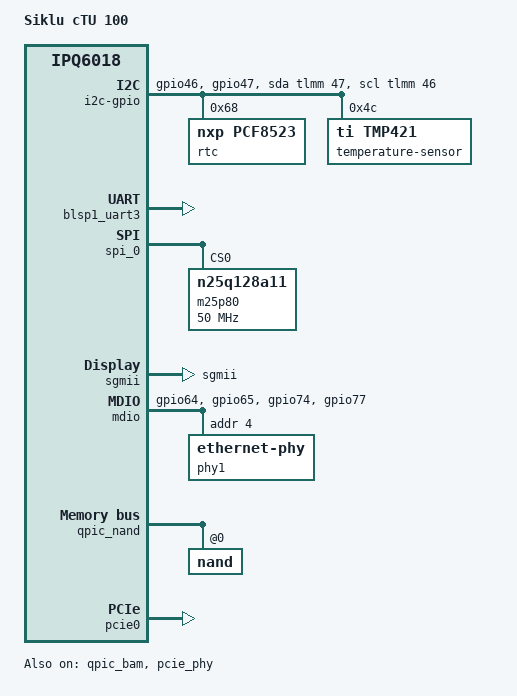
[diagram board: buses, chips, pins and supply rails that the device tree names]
// SPDX-License-Identifier: (GPL-2.0+ OR BSD-3-Clause)
/*
 * IPQ6018 CP01 board device tree source
 *
 * Copyright (c) 2019-2020 The Linux Foundation. All rights reserved.
 */

/dts-v1/;

#include <dt-bindings/gpio/gpio.h>
#include "ipq6018.dtsi"

/ {
	model = "Siklu cTU 100";
	compatible = "siklu,ipq6018-ctu", "qcom,ipq6018";

	aliases {
		serial0 = &blsp1_uart3;
		ethernet0 = &sgmii;
	};

	chosen {
		stdout-path = "serial0:115200n8";
		bootargs-append = " swiotlb=1";
	};

	/*
	* +=========+==============+========================+
	* |        |              |                         |
	* | Region | Start Offset |          Size           |
	* |        |              |                         |
	* +--------+--------------+-------------------------+
	* |        |              |                         |
	* |        |              |                         |
	* |        |              |                         |
	* |        |              |                         |
	* | Linux  |  0x41000000  |         139MB           |
	* |        |              |                         |
	* |        |              |                         |
	* |        |              |                         |
	* +--------+--------------+-------------------------+
	* | TZ App |  0x49B00000  |           6MB           |
	* +--------+--------------+-------------------------+
	*
	* From the available 145 MB for Linux in the first 256 MB,
	* we are reserving 6 MB for TZAPP.
	*
	* Refer arch/arm64/boot/dts/qcom/ipq6018-memory.dtsi
	* for memory layout.
	*/

	/* TZApp is enabled in default memory profile only. */
	/* This below reservation must be updated when LM support is added. */
	reserved-memory {
		tzapp:tzapp@49B00000 {  /* TZAPPS */
			no-map;
			reg = <0x0 0x49B00000 0x0 0x00600000>;
		};
	};

	i2c-gpio {
		compatible = "i2c-gpio";
		#address-cells = <1>;
		#size-cells = <0>;
		pinctrl-0 = <&i2c_gpio_pins>;
		pinctrl-names = "default";
		scl-gpios = <&tlmm 46 (GPIO_ACTIVE_HIGH | GPIO_OPEN_DRAIN)>;
		sda-gpios = <&tlmm 47 (GPIO_ACTIVE_HIGH | GPIO_OPEN_DRAIN)>;
		status = "okay";

		rtc@68 {
			compatible = "nxp,pcf8523";
			reg = <0x68>;
		};

		temperature-sensor@4c {
			compatible = "ti,tmp421";
			reg = <0x4c>;
		};
	};
};

&blsp1_uart3 {
	pinctrl-0 = <&serial_3_pins>;
	pinctrl-names = "default";
	status = "ok";
};

&spi_0 {
	cs-select = <0>;
	status = "ok";

	m25p80@0 {
		#address-cells = <1>;
		#size-cells = <1>;
		reg = <0>;
		compatible = "n25q128a11";
		spi-max-frequency = <50000000>;

		partitions {
			compatible = "qcom,smem-part";
		};
	};
};

&tlmm {
	i2c_gpio_pins: i2c-gpio-pins {
		pins = "gpio46", "gpio47";
		function = "gpio";
		drive-strength = <8>;
	};

	spi_0_pins: spi-0-pins {
		pins = "gpio38", "gpio39", "gpio40", "gpio41";
		function = "blsp0_spi";
		drive-strength = <8>;
		bias-pull-down;
	};

	mdio_pins: mdio_pinmux {
		mux_0 {
			pins = "gpio64";
			function = "mdc";
			drive-strength = <8>;
			bias-pull-up;
		};
		mux_1 {
			pins = "gpio65";
			function = "mdio";
			drive-strength = <8>;
			bias-pull-up;
		};
		mux_2 {
			pins = "gpio74";
			function = "gpio";
			bias-pull-up;
		};
		mux_3 {
			pins = "gpio77";
			function = "gpio";
			bias-pull-up;
		};
	};
};

&soc {
	sgmii: dp2 {
		device_type = "network";
		compatible = "qcom,nss-dp";
		qcom,id = <3>;
		reg = <0x0 0x3a001600 0x0 0x200>;
		qcom,mactype = <0>;
		local-mac-address = [000000000000];
		qcom,link-poll = <1>;
		mdio-bus = <&mdio>;
		qcom,phy-mdio-addr = <4>;
		phy-mode = "sgmii";
	};

	ess-switch@3a000000 {
		switch_cpu_bmp = <0x1>;  /* cpu port bitmap */
		switch_lan_bmp = <0x18>; /* lan port bitmap */
		switch_wan_bmp = <0x20>; /* wan port bitmap */
		switch_inner_bmp = <0xc0>; /*inner port bitmap*/
		switch_mac_mode = <0x0>; /* mac mode for uniphy instance0*/
		switch_mac_mode1 = <0xf>; /* mac mode for uniphy instance1*/
		switch_mac_mode2 = <0xff>; /* mac mode for uniphy instance2*/
		mdio-bus = <&mdio>;
		qcom,port_phyinfo {
			port@4 {
				port_id = <3>;
				phy_address = <4>;
			};
		};
	};
};

&mdio {
	pinctrl-0 = <&mdio_pins>;
	pinctrl-names = "default";
	phy-reset-gpio = <&tlmm 74 0>;
	status = "okay";
	phy1: ethernet-phy@4 {
		reg = <4>;
	};
};

&qpic_bam {
	status = "ok";
};

&qpic_nand {
	status = "ok";

	nand@0 {
		reg = <0>;
		#address-cells = <1>;
		#size-cells = <1>;

		nand-ecc-strength = <8>;
		nand-ecc-step-size = <512>;
		nand-bus-width = <8>;
	};
};

&pcie_phy {
	status = "ok";
};

&pcie0 {
	perst-gpio = <&tlmm 60 1>;

	status = "ok";
};
